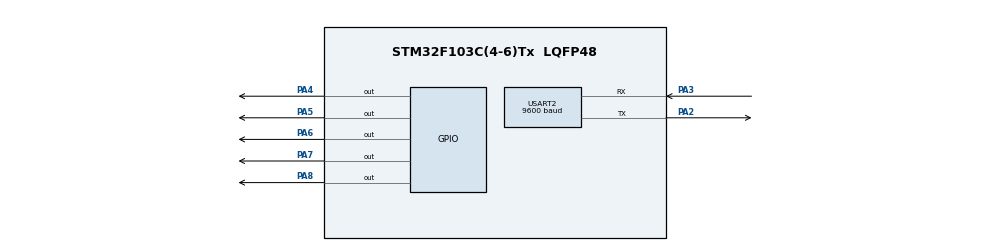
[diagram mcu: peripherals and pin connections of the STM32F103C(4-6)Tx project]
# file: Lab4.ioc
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Mcu.Family=STM32F1
Mcu.Name=STM32F103C(4-6)Tx
Mcu.Package=LQFP48
NVIC.PriorityGroup=NVIC_PRIORITYGROUP_4
NVIC.TIM2_IRQn=true\:0\:0\:false\:false\:true\:true\:true
NVIC.USART2_IRQn=true\:0\:0\:false\:false\:true\:true\:true
PA2.Mode=Asynchronous
PA2.Signal=USART2_TX
PA3.Mode=Asynchronous
PA3.Signal=USART2_RX
PA4.Signal=GPIO_Output
PA5.Signal=GPIO_Output
PA6.Signal=GPIO_Output
PA7.Signal=GPIO_Output
PA8.Signal=GPIO_Output
ProjectManager.HeapSize=0x200
ProjectManager.StackSize=0x400
ProjectManager.TargetToolchain=STM32CubeIDE
RCC.APB1Freq_Value=8000000
RCC.APB2Freq_Value=8000000
TIM2.Period=9
TIM2.Prescaler=7999
USART2.BaudRate=9600
USART2.VirtualMode=VM_ASYNC
VP_SYS_VS_ND.Mode=No_Debug
VP_TIM2_VS_ClockSourceINT.Mode=Internal
board=custom

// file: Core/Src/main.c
/* USER CODE BEGIN Header */
/**
  ******************************************************************************
  * @file           : main.c
  * @brief          : Main program body
  ******************************************************************************
  * @attention
  *
  * <h2><center>&copy; Copyright (c) 2021 STMicroelectronics.
  * All rights reserved.</center></h2>
  *
  * This software component is licensed by ST under BSD 3-Clause license,
  * the "License"; You may not use this file except in compliance with the
  * License. You may obtain a copy of the License at:
  *                        opensource.org/licenses/BSD-3-Clause
  *
  ******************************************************************************
  */
/* USER CODE END Header */
#include "main.h"

/* USER CODE BEGIN Includes */
#include "scheduler.h"
/* USER CODE END Includes */

TIM_HandleTypeDef htim2;

UART_HandleTypeDef huart2;

void SystemClock_Config(void);
static void MX_TIM2_Init(void);
static void MX_GPIO_Init(void);
static void MX_USART2_UART_Init(void);
/* USER CODE BEGIN PFP */
void BlinkLed0();
void BlinkLed1();
void BlinkLed2();
void BlinkLed3();
void BlinkLed4();
/* USER CODE END PFP */

int main(void)
{

  /* MCU Configuration--------------------------------------------------------*/

  /* Reset of all peripherals, Initializes the Flash interface and the Systick. */
  HAL_Init();

  /* USER CODE BEGIN Init */
  SCH_INIT();
  /* USER CODE END Init */

  /* Configure the system clock */
  SystemClock_Config();

  /* Initialize all configured peripherals */
  MX_TIM2_Init();
  MX_GPIO_Init();
  MX_USART2_UART_Init();
  /* USER CODE BEGIN 2 */
  HAL_TIM_Base_Start_IT(&htim2);
  HAL_Delay(500);
  SCH_Add_Task(BlinkLed0, 10, 50);
  SCH_Add_Task(BlinkLed1, 30, 50);
  SCH_Add_Task(BlinkLed2, 50, 50);
  SCH_Add_Task(BlinkLed3, 70, 50);
  SCH_Add_Task(BlinkLed4, 90, 50);
  /* USER CODE END 2 */

  /* Infinite loop */
  while (1)
  {
	  SCH_Dispatch_Task();
  }
}

void SystemClock_Config(void)
{
  RCC_OscInitTypeDef RCC_OscInitStruct = {0};
  RCC_ClkInitTypeDef RCC_ClkInitStruct = {0};

  /** Initializes the RCC Oscillators according to the specified parameters
  * in the RCC_OscInitTypeDef structure.
  */
  RCC_OscInitStruct.OscillatorType = RCC_OSCILLATORTYPE_HSI;
  RCC_OscInitStruct.HSIState = RCC_HSI_ON;
  RCC_OscInitStruct.HSICalibrationValue = RCC_HSICALIBRATION_DEFAULT;
  RCC_OscInitStruct.PLL.PLLState = RCC_PLL_NONE;
  if (HAL_RCC_OscConfig(&RCC_OscInitStruct) != HAL_OK)
  {
    Error_Handler();
  }
  /** Initializes the CPU, AHB and APB buses clocks
  */
  RCC_ClkInitStruct.ClockType = RCC_CLOCKTYPE_HCLK|RCC_CLOCKTYPE_SYSCLK
                              |RCC_CLOCKTYPE_PCLK1|RCC_CLOCKTYPE_PCLK2;
  RCC_ClkInitStruct.SYSCLKSource = RCC_SYSCLKSOURCE_HSI;
  RCC_ClkInitStruct.AHBCLKDivider = RCC_SYSCLK_DIV1;
  RCC_ClkInitStruct.APB1CLKDivider = RCC_HCLK_DIV1;
  RCC_ClkInitStruct.APB2CLKDivider = RCC_HCLK_DIV1;

  if (HAL_RCC_ClockConfig(&RCC_ClkInitStruct, FLASH_LATENCY_0) != HAL_OK)
  {
    Error_Handler();
  }
}

static void MX_TIM2_Init(void)
{

  TIM_ClockConfigTypeDef sClockSourceConfig = {0};
  TIM_MasterConfigTypeDef sMasterConfig = {0};

  htim2.Instance = TIM2;
  htim2.Init.Prescaler = 7999;
  htim2.Init.CounterMode = TIM_COUNTERMODE_UP;
  htim2.Init.Period = 9;
  htim2.Init.ClockDivision = TIM_CLOCKDIVISION_DIV1;
  htim2.Init.AutoReloadPreload = TIM_AUTORELOAD_PRELOAD_DISABLE;
  if (HAL_TIM_Base_Init(&htim2) != HAL_OK)
  {
    Error_Handler();
  }
  sClockSourceConfig.ClockSource = TIM_CLOCKSOURCE_INTERNAL;
  if (HAL_TIM_ConfigClockSource(&htim2, &sClockSourceConfig) != HAL_OK)
  {
    Error_Handler();
  }
  sMasterConfig.MasterOutputTrigger = TIM_TRGO_RESET;
  sMasterConfig.MasterSlaveMode = TIM_MASTERSLAVEMODE_DISABLE;
  if (HAL_TIMEx_MasterConfigSynchronization(&htim2, &sMasterConfig) != HAL_OK)
  {
    Error_Handler();
  }

}

static void MX_USART2_UART_Init(void)
{

  huart2.Instance = USART2;
  huart2.Init.BaudRate = 9600;
  huart2.Init.WordLength = UART_WORDLENGTH_8B;
  huart2.Init.StopBits = UART_STOPBITS_1;
  huart2.Init.Parity = UART_PARITY_NONE;
  huart2.Init.Mode = UART_MODE_TX_RX;
  huart2.Init.HwFlowCtl = UART_HWCONTROL_NONE;
  huart2.Init.OverSampling = UART_OVERSAMPLING_16;
  if (HAL_UART_Init(&huart2) != HAL_OK)
  {
    Error_Handler();
  }

}

static void MX_GPIO_Init(void)
{
  GPIO_InitTypeDef GPIO_InitStruct = {0};

  /* GPIO Ports Clock Enable */
  __HAL_RCC_GPIOA_CLK_ENABLE();

  /*Configure GPIO pin Output Level */
  HAL_GPIO_WritePin(GPIOA, GPIO_PIN_4|GPIO_PIN_5|GPIO_PIN_6|GPIO_PIN_7
                          |GPIO_PIN_8, GPIO_PIN_RESET);

  /*Configure GPIO pins : PA4 PA5 PA6 PA7
                           PA8 */
  GPIO_InitStruct.Pin = GPIO_PIN_4|GPIO_PIN_5|GPIO_PIN_6|GPIO_PIN_7
                          |GPIO_PIN_8;
  GPIO_InitStruct.Mode = GPIO_MODE_OUTPUT_PP;
  GPIO_InitStruct.Pull = GPIO_NOPULL;
  GPIO_InitStruct.Speed = GPIO_SPEED_FREQ_LOW;
  HAL_GPIO_Init(GPIOA, &GPIO_InitStruct);

}

/* USER CODE BEGIN 4 */
void BlinkLed0()
{
	HAL_GPIO_TogglePin(GPIOA, GPIO_PIN_4);
}

void BlinkLed1()
{
	HAL_GPIO_TogglePin(GPIOA, GPIO_PIN_5);
}

void BlinkLed2()
{
	HAL_GPIO_TogglePin(GPIOA, GPIO_PIN_6);
}

void BlinkLed3()
{
	HAL_GPIO_TogglePin(GPIOA, GPIO_PIN_7);
}

void BlinkLed4()
{
	HAL_GPIO_TogglePin(GPIOA, GPIO_PIN_8);
}

void HAL_TIM_PeriodElapsedCallback ( TIM_HandleTypeDef * htim )
{
	SCH_Update_Task();
}
/* USER CODE END 4 */

void Error_Handler(void)
{
  __disable_irq();
  while (1)
  {
  }
}

/************************ (C) COPYRIGHT STMicroelectronics *****END OF FILE****/
